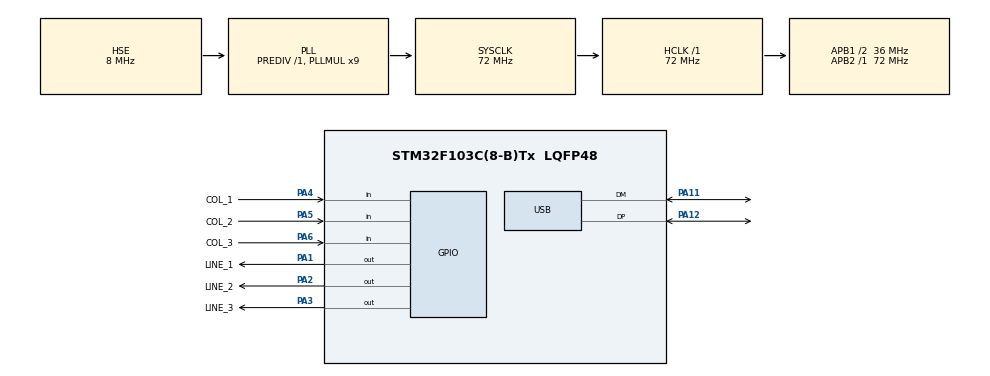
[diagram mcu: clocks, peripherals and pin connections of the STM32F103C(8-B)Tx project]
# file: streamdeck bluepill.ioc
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Mcu.Family=STM32F1
Mcu.Name=STM32F103C(8-B)Tx
Mcu.Package=LQFP48
NVIC.PriorityGroup=NVIC_PRIORITYGROUP_4
NVIC.TIM2_IRQn=true\:0\:0\:false\:false\:true\:true\:true\:true
NVIC.USB_LP_CAN1_RX0_IRQn=true\:0\:0\:false\:false\:true\:false\:true\:true
PA1.GPIO_Label=LINE_1
PA1.GPIO_ModeDefaultOutputPP=GPIO_MODE_OUTPUT_OD
PA1.GPIO_PuPd=GPIO_NOPULL
PA1.PinState=GPIO_PIN_SET
PA1.Signal=GPIO_Output
PA11.Mode=Device
PA11.Signal=USB_DM
PA12.Mode=Device
PA12.Signal=USB_DP
PA13.Mode=Serial_Wire
PA13.Signal=SYS_JTMS-SWDIO
PA14.Mode=Serial_Wire
PA14.Signal=SYS_JTCK-SWCLK
PA2.GPIO_Label=LINE_2
PA2.GPIO_ModeDefaultOutputPP=GPIO_MODE_OUTPUT_OD
PA2.GPIO_PuPd=GPIO_NOPULL
PA2.PinState=GPIO_PIN_SET
PA2.Signal=GPIO_Output
PA3.GPIO_Label=LINE_3
PA3.GPIO_ModeDefaultOutputPP=GPIO_MODE_OUTPUT_OD
PA3.GPIO_PuPd=GPIO_NOPULL
PA3.PinState=GPIO_PIN_SET
PA3.Signal=GPIO_Output
PA4.GPIO_Label=COL_1
PA4.GPIO_PuPd=GPIO_PULLUP
PA4.Signal=GPIO_Input
PA5.GPIO_Label=COL_2
PA5.GPIO_PuPd=GPIO_PULLUP
PA5.Signal=GPIO_Input
PA6.GPIO_Label=COL_3
PA6.GPIO_PuPd=GPIO_PULLUP
PA6.Signal=GPIO_Input
PD0-OSC_IN.Mode=HSE-External-Oscillator
PD0-OSC_IN.Signal=RCC_OSC_IN
PD1-OSC_OUT.Mode=HSE-External-Oscillator
PD1-OSC_OUT.Signal=RCC_OSC_OUT
ProjectManager.HeapSize=0x200
ProjectManager.StackSize=0x400
ProjectManager.TargetToolchain=STM32CubeIDE
RCC.AHBFreq_Value=72000000
RCC.APB1CLKDivider=RCC_HCLK_DIV2
RCC.APB1Freq_Value=36000000
RCC.APB1TimFreq_Value=72000000
RCC.APB2Freq_Value=72000000
RCC.APB2TimFreq_Value=72000000
RCC.HCLKFreq_Value=72000000
RCC.PLLMUL=RCC_PLL_MUL9
RCC.SYSCLKFreq_VALUE=72000000
RCC.SYSCLKSource=RCC_SYSCLKSOURCE_PLLCLK
RCC.USBFreq_Value=48000000
RCC.USBPrescaler=RCC_USBCLKSOURCE_PLL_DIV1_5
TIM2.AutoReloadPreload=TIM_AUTORELOAD_PRELOAD_ENABLE
TIM2.Period=99
TIM2.Prescaler=7199
USB_DEVICE.CLASS_NAME_FS=CUSTOM_HID
USB_DEVICE.USBD_CUSTOM_HID_REPORT_DESC_SIZE=63
USB_DEVICE.VirtualMode=CustomHid
USB_DEVICE.VirtualModeFS=Custom_Hid_FS
VP_TIM2_VS_ClockSourceINT.Mode=Internal
VP_USB_DEVICE_VS_USB_DEVICE_CUSTOM_HID_FS.Mode=CUSTOM_HID_FS
board=custom

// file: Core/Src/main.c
/* USER CODE BEGIN Header */
/**
  ******************************************************************************
  * @file           : main.c
  * @brief          : Firmware principal do Stream Deck (Sistemas Embarcados - FEELT / UFU)
  * @details        : Executa a varredura da matriz 3x3 ativada por Interrupção de Hardware
  *                   via Timer TIM2 (100Hz / 10ms) e transmite relatórios USB Custom HID
  *                   (Scancodes F13 a F21) sem uso de polling no loop principal.
  * @authors        : Vicenzo De Marco Olivalves (12421ECP006)
  *                   Bruna de Jesus Silva (12021ETE007)
  *                   Gustavo Martins Ribeiro Moura (12111ETE002)
  *                   Matheus Henrique Gonçalves (12311ECP021)
  * @date           : 2026-08-06
  ******************************************************************************
  */
/* USER CODE END Header */
#include "main.h"
#include "usb_device.h"

/* USER CODE BEGIN Includes */
#include "usbd_customhid.h"
/* USER CODE END Includes */

/* USER CODE BEGIN PTD */
/**
 * @brief Estrutura de dados para controle da Matriz e Debouncing não-bloqueante por ISR.
 */
typedef struct {
    volatile int last_raw_key;     /*!< Última tecla detectada na varredura física (-1 a 8) */
    volatile int stable_valid_key; /*!< Tecla confirmada após a janela de debouncing */
    volatile uint32_t sample_ticks;/*!< Contador de amostras em ms ativado via Timer ISR */
} StreamDeck_State_t;
/* USER CODE END PTD */

/* USER CODE BEGIN PD */
#define DEBOUNCE_THRESHOLD_MS 40   /*!< Janela de estabilização do ruído mecânico em ms */
#define SCAN_TIMER_PERIOD_MS  10   /*!< Período de interrupção do Timer TIM2 (100 Hz) */
#define USB_HID_SCANCODE_F13  0x68 /*!< Código Hexadecimal da tecla F13 no padrão USB HID */
/* USER CODE END PD */

TIM_HandleTypeDef htim2;

/* USER CODE BEGIN PV */
extern USBD_HandleTypeDef hUsbDeviceFS;

/** @brief Mapeamento físico dos pinos das Linhas (PA1, PA2, PA3 - Open Drain Out) */
static uint16_t rowPins[3] = {GPIO_PIN_1, GPIO_PIN_2, GPIO_PIN_3};
static GPIO_TypeDef* rowPorts[3] = {GPIOA, GPIOA, GPIOA};

/** @brief Mapeamento físico dos pinos das Colunas (PA4, PA5, PA6 - Input PullUp) */
static uint16_t colPins[3] = {GPIO_PIN_4, GPIO_PIN_5, GPIO_PIN_6};
static GPIO_TypeDef* colPorts[3] = {GPIOA, GPIOA, GPIOA};

/** @brief Instância global da máquina de estados do Stream Deck */
static volatile StreamDeck_State_t deck_state = {
    .last_raw_key = -1,
    .stable_valid_key = -1,
    .sample_ticks = 0
};
/* USER CODE END PV */

void SystemClock_Config(void);
static void MX_GPIO_Init(void);
static void MX_TIM2_Init(void);
/* USER CODE BEGIN PFP */
int scanMatrix_ISR(void);
void enviarReportUSB(int tecla_id);
void processDebounce_ISR(void);
/* USER CODE END PFP */

/* USER CODE BEGIN 0 */

/**
  * @brief  Varre a matriz de teclas 3x3.
  * @note   Função otimizada executada dentro do contexto de Interrupção por Hardware (Timer ISR).
  * @retval ID da tecla acionada (0 a 8) ou -1 se nenhuma tecla estiver pressionada.
  */
int scanMatrix_ISR(void) {
    for (int r = 0; r < 3; r++) {
        // Coloca a linha atual em nível LÓGICO BAIXO (0V / RESET)
        HAL_GPIO_WritePin(rowPorts[r], rowPins[r], GPIO_PIN_RESET);

        // Estabilização de sinal para capacitância das trilhas da PCB
        for (volatile int i = 0; i < 50; i++) { __NOP(); }

        for (int c = 0; c < 3; c++) {
            // Se a coluna ler 0V, o switch daquela interseção (r, c) foi fechado
            if (HAL_GPIO_ReadPin(colPorts[c], colPins[c]) == GPIO_PIN_RESET) {
                // Restaura a linha para Alta Impedância (SET / Open-Drain Hi-Z)
                HAL_GPIO_WritePin(rowPorts[r], rowPins[r], GPIO_PIN_SET);
                return (r * 3) + c; // Retorna o índice de 0 a 8
            }
        }
        // Restaura a linha para Alta Impedância antes de testar a próxima
        HAL_GPIO_WritePin(rowPorts[r], rowPins[r], GPIO_PIN_SET);
    }
    return -1; // Nenhuma tecla pressionada
}

/**
  * @brief  Constrói e envia o pacote de 8 Bytes USB HID para o computador host.
  * @param  tecla_id ID da tecla (0 a 8) ou -1 para liberada (Release).
  * @retval None
  */
void enviarReportUSB(int tecla_id) {
    uint8_t hid_report[8] = {0}; // Array de 8 bytes no padrão USB HID Keyboard Report

    if (tecla_id != -1) {
        // Byte 0: Teclas modificadoras (Ctrl, Shift, Alt, GUI) -> 0x00
        // Byte 1: Reservado -> 0x00
        // Byte 2: Scancode da tecla primária -> F13 (0x68) + ID
        hid_report[2] = USB_HID_SCANCODE_F13 + tecla_id;
    }

    // Envia o relatório de 8 bytes via EndPoint EP1 IN (Interrupt Transmission)
    USBD_CUSTOM_HID_SendReport(&hUsbDeviceFS, hid_report, sizeof(hid_report));
}

/**
  * @brief  Filtro de Debouncing executado periodicamente a cada estouro do Timer TIM2.
  * @note   Substitui totalmente o Polling. Garante imunidade a ruídos sem bloquear a CPU.
  * @retval None
  */
void processDebounce_ISR(void) {
    int current_key = scanMatrix_ISR();

    if (current_key != deck_state.last_raw_key) {
        deck_state.sample_ticks = HAL_GetTick();
        deck_state.last_raw_key = current_key;
    }

    // Se o sinal se manteve estável durante a janela de 40ms
    if ((HAL_GetTick() - deck_state.sample_ticks) >= DEBOUNCE_THRESHOLD_MS) {
        if (current_key != deck_state.stable_valid_key) {
            deck_state.stable_valid_key = current_key;
            enviarReportUSB(deck_state.stable_valid_key);
        }
    }
}

/**
  * @brief  Callback de Interrupção por Estouro do Timer (TIM2 ISR).
  * @param  htim Ponteiro para o handle do timer que gerou a interrupção.
  * @retval None
  */
void HAL_TIM_PeriodElapsedCallback(TIM_HandleTypeDef *htim) {
    if (htim->Instance == TIM2) {
        // Processa a varredura e o debouncing em tempo real por interrupção
        processDebounce_ISR();
    }
}

/* USER CODE END 0 */

int main(void)
{

  /* MCU Configuration--------------------------------------------------------*/

  /* Reset of all peripherals, Initializes the Flash interface and the Systick. */
  HAL_Init();

  /* Configure the system clock */
  SystemClock_Config();

  /* USER CODE BEGIN SysInit */
  /* Força a Re-enumeração USB no Windows (Reset no D+ / PA12) */
  GPIO_InitTypeDef GPIO_InitStruct_USB = {0};
  __HAL_RCC_GPIOA_CLK_ENABLE();
  GPIO_InitStruct_USB.Pin = GPIO_PIN_12;
  GPIO_InitStruct_USB.Mode = GPIO_MODE_OUTPUT_PP;
  GPIO_InitStruct_USB.Speed = GPIO_SPEED_FREQ_LOW;
  HAL_GPIO_Init(GPIOA, &GPIO_InitStruct_USB);
  HAL_GPIO_WritePin(GPIOA, GPIO_PIN_12, GPIO_PIN_RESET);
  HAL_Delay(100);
  /* USER CODE END SysInit */

  /* Initialize all configured peripherals */
  MX_GPIO_Init();
  MX_USB_DEVICE_Init();
  MX_TIM2_Init();
  /* USER CODE BEGIN 2 */
  /* Habilita o sinal de depuração ST-LINK mesmo quando a CPU entra em repouso (__WFI) */
  HAL_DBGMCU_EnableDBGSleepMode();

  /* Inicia o Timer TIM2 com Interrupção de Hardware ativada (100 Hz / 10ms) */
  HAL_TIM_Base_Start_IT(&htim2);
  /* USER CODE END 2 */

  /* Infinite loop */
  while (1)
  {

    /* USER CODE BEGIN 3 */
    // __WFI(); // Comentado para permitir leitura ao vivo (Live Expressions) via ST-LINK
  }
  /* USER CODE END 3 */
}

void SystemClock_Config(void)
{
  RCC_OscInitTypeDef RCC_OscInitStruct = {0};
  RCC_ClkInitTypeDef RCC_ClkInitStruct = {0};
  RCC_PeriphCLKInitTypeDef PeriphClkInit = {0};

  /** Initializes the RCC Oscillators according to the specified parameters
  * in the RCC_OscInitTypeDef structure.
  */
  RCC_OscInitStruct.OscillatorType = RCC_OSCILLATORTYPE_HSE;
  RCC_OscInitStruct.HSEState = RCC_HSE_ON;
  RCC_OscInitStruct.HSEPredivValue = RCC_HSE_PREDIV_DIV1;
  RCC_OscInitStruct.HSIState = RCC_HSI_ON;
  RCC_OscInitStruct.PLL.PLLState = RCC_PLL_ON;
  RCC_OscInitStruct.PLL.PLLSource = RCC_PLLSOURCE_HSE;
  RCC_OscInitStruct.PLL.PLLMUL = RCC_PLL_MUL9;
  if (HAL_RCC_OscConfig(&RCC_OscInitStruct) != HAL_OK)
  {
    Error_Handler();
  }

  /** Initializes the CPU, AHB and APB buses clocks
  */
  RCC_ClkInitStruct.ClockType = RCC_CLOCKTYPE_HCLK|RCC_CLOCKTYPE_SYSCLK
                              |RCC_CLOCKTYPE_PCLK1|RCC_CLOCKTYPE_PCLK2;
  RCC_ClkInitStruct.SYSCLKSource = RCC_SYSCLKSOURCE_PLLCLK;
  RCC_ClkInitStruct.AHBCLKDivider = RCC_SYSCLK_DIV1;
  RCC_ClkInitStruct.APB1CLKDivider = RCC_HCLK_DIV2;
  RCC_ClkInitStruct.APB2CLKDivider = RCC_HCLK_DIV1;

  if (HAL_RCC_ClockConfig(&RCC_ClkInitStruct, FLASH_LATENCY_2) != HAL_OK)
  {
    Error_Handler();
  }
  PeriphClkInit.PeriphClockSelection = RCC_PERIPHCLK_USB;
  PeriphClkInit.UsbClockSelection = RCC_USBCLKSOURCE_PLL_DIV1_5;
  if (HAL_RCCEx_PeriphCLKConfig(&PeriphClkInit) != HAL_OK)
  {
    Error_Handler();
  }
}

static void MX_TIM2_Init(void)
{

  TIM_ClockConfigTypeDef sClockSourceConfig = {0};
  TIM_MasterConfigTypeDef sMasterConfig = {0};

  htim2.Instance = TIM2;
  htim2.Init.Prescaler = 7199;
  htim2.Init.CounterMode = TIM_COUNTERMODE_UP;
  htim2.Init.Period = 99;
  htim2.Init.ClockDivision = TIM_CLOCKDIVISION_DIV1;
  htim2.Init.AutoReloadPreload = TIM_AUTORELOAD_PRELOAD_ENABLE;
  if (HAL_TIM_Base_Init(&htim2) != HAL_OK)
  {
    Error_Handler();
  }
  sClockSourceConfig.ClockSource = TIM_CLOCKSOURCE_INTERNAL;
  if (HAL_TIM_ConfigClockSource(&htim2, &sClockSourceConfig) != HAL_OK)
  {
    Error_Handler();
  }
  sMasterConfig.MasterOutputTrigger = TIM_TRGO_RESET;
  sMasterConfig.MasterSlaveMode = TIM_MASTERSLAVEMODE_DISABLE;
  if (HAL_TIMEx_MasterConfigSynchronization(&htim2, &sMasterConfig) != HAL_OK)
  {
    Error_Handler();
  }

}

static void MX_GPIO_Init(void)
{
  GPIO_InitTypeDef GPIO_InitStruct = {0};

  /* GPIO Ports Clock Enable */
  __HAL_RCC_GPIOD_CLK_ENABLE();
  __HAL_RCC_GPIOA_CLK_ENABLE();

  /*Configure GPIO pin Output Level */
  HAL_GPIO_WritePin(GPIOA, LINE_1_Pin|LINE_2_Pin|LINE_3_Pin, GPIO_PIN_SET);

  /*Configure GPIO pins : LINE_1_Pin LINE_2_Pin LINE_3_Pin */
  GPIO_InitStruct.Pin = LINE_1_Pin|LINE_2_Pin|LINE_3_Pin;
  GPIO_InitStruct.Mode = GPIO_MODE_OUTPUT_OD;
  GPIO_InitStruct.Pull = GPIO_NOPULL;
  GPIO_InitStruct.Speed = GPIO_SPEED_FREQ_LOW;
  HAL_GPIO_Init(GPIOA, &GPIO_InitStruct);

  /*Configure GPIO pins : COL_1_Pin COL_2_Pin COL_3_Pin */
  GPIO_InitStruct.Pin = COL_1_Pin|COL_2_Pin|COL_3_Pin;
  GPIO_InitStruct.Mode = GPIO_MODE_INPUT;
  GPIO_InitStruct.Pull = GPIO_PULLUP;
  HAL_GPIO_Init(GPIOA, &GPIO_InitStruct);

}

void Error_Handler(void)
{
  __disable_irq();
  while (1)
  {
  }
}
